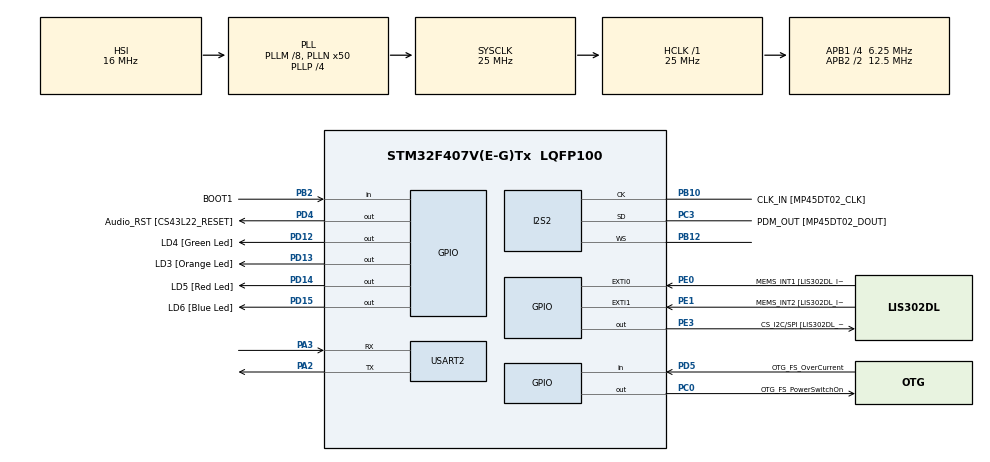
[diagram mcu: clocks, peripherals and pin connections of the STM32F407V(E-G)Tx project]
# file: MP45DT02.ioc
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I2S2.AudioFreq=I2S_AUDIOFREQ_192K
I2S2.ErrorAudioFreq=0.8 %
I2S2.Mode=I2S_MODE_MASTER_RX
I2S2.RealAudioFreq=193.548 KHz
Mcu.Family=STM32F4
Mcu.Name=STM32F407V(E-G)Tx
Mcu.Package=LQFP100
NVIC.PriorityGroup=NVIC_PRIORITYGROUP_0
PA10.GPIO_Label=OTG_FS_ID
PA10.GPIO_Mode=GPIO_MODE_AF_PP
PA10.GPIO_PuPd=GPIO_NOPULL
PA10.GPIO_Speed=GPIO_SPEED_FREQ_LOW
PA10.Signal=USB_OTG_FS_ID
PA11.GPIO_Label=OTG_FS_DM
PA11.GPIO_Mode=GPIO_MODE_AF_PP
PA11.GPIO_PuPd=GPIO_NOPULL
PA11.GPIO_Speed=GPIO_SPEED_FREQ_LOW
PA11.Signal=USB_OTG_FS_DM
PA12.GPIO_Label=OTG_FS_DP
PA12.GPIO_Mode=GPIO_MODE_AF_PP
PA12.GPIO_PuPd=GPIO_NOPULL
PA12.GPIO_Speed=GPIO_SPEED_FREQ_LOW
PA12.Signal=USB_OTG_FS_DP
PA13.GPIO_Label=SWDIO
PA13.Signal=SYS_JTMS-SWDIO
PA14.GPIO_Label=SWCLK
PA14.Signal=SYS_JTCK-SWCLK
PA2.Mode=Asynchronous
PA2.Signal=USART2_TX
PA3.Mode=Asynchronous
PA3.Signal=USART2_RX
PA4.GPIO_Label=I2S3_WS [CS43L22_LRCK]
PA4.GPIO_Mode=GPIO_MODE_AF_PP
PA4.GPIO_PuPd=GPIO_NOPULL
PA4.GPIO_Speed=GPIO_SPEED_FREQ_LOW
PA4.Signal=I2S3_WS
PA5.GPIO_Label=SPI1_SCK [LIS302DL_SCL/SPC]
PA5.GPIO_Mode=GPIO_MODE_AF_PP
PA5.GPIO_PuPd=GPIO_NOPULL
PA5.GPIO_Speed=GPIO_SPEED_FREQ_LOW
PA5.Signal=SPI1_SCK
PA6.GPIO_Label=SPI1_MISO [LIS302DL_SDO]
PA6.GPIO_Mode=GPIO_MODE_AF_PP
PA6.GPIO_PuPd=GPIO_NOPULL
PA6.GPIO_Speed=GPIO_SPEED_FREQ_LOW
PA6.Signal=SPI1_MISO
PA7.GPIO_Label=SPI1_MOSI [LIS302DL_SDA/SDI/SDO]
PA7.GPIO_Mode=GPIO_MODE_AF_PP
PA7.GPIO_PuPd=GPIO_NOPULL
PA7.GPIO_Speed=GPIO_SPEED_FREQ_LOW
PA7.Signal=SPI1_MOSI
PA9.GPIO_Label=VBUS_FS
PA9.GPIO_Mode=GPIO_MODE_INPUT
PA9.GPIO_PuPd=GPIO_NOPULL
PA9.Signal=USB_OTG_FS_VBUS
PB10.GPIO_Label=CLK_IN [MP45DT02_CLK]
PB10.GPIO_Mode=GPIO_MODE_AF_PP
PB10.GPIO_PuPd=GPIO_NOPULL
PB10.GPIO_Speed=GPIO_SPEED_FREQ_LOW
PB10.Mode=Half_Duplex_Master
PB10.Signal=I2S2_CK
PB12.Mode=Half_Duplex_Master
PB12.Signal=I2S2_WS
PB2.GPIO_Label=BOOT1
PB2.GPIO_Mode=GPIO_MODE_INPUT
PB2.GPIO_PuPd=GPIO_NOPULL
PB2.Signal=GPIO_Input
PB3.GPIO_Label=SWO
PB3.Signal=SYS_JTDO-SWO
PB6.GPIO_Label=Audio_SCL [CS43L22_SCL]
PB6.GPIO_Mode=GPIO_MODE_AF_OD
PB6.GPIO_PuPd=GPIO_NOPULL
PB6.GPIO_Speed=GPIO_SPEED_FREQ_LOW
PB6.Signal=I2C1_SCL
PB9.GPIO_Label=Audio_SDA [CS43L22_SDA]
PB9.GPIO_Mode=GPIO_MODE_AF_OD
PB9.GPIO_PuPd=GPIO_NOPULL
PB9.GPIO_Speed=GPIO_SPEED_FREQ_LOW
PB9.Signal=I2C1_SDA
PC0.GPIO_Label=OTG_FS_PowerSwitchOn
PC0.GPIO_PuPd=GPIO_NOPULL
PC0.GPIO_Speed=GPIO_SPEED_FREQ_LOW
PC0.PinState=GPIO_PIN_SET
PC0.Signal=GPIO_Output
PC10.GPIO_Label=I2S3_SCK [CS43L22_SCLK]
PC10.GPIO_Mode=GPIO_MODE_AF_PP
PC10.GPIO_PuPd=GPIO_NOPULL
PC10.GPIO_Speed=GPIO_SPEED_FREQ_LOW
PC10.Signal=I2S3_CK
PC12.GPIO_Label=I2S3_SD [CS43L22_SDIN]
PC12.GPIO_Mode=GPIO_MODE_AF_PP
PC12.GPIO_PuPd=GPIO_NOPULL
PC12.GPIO_Speed=GPIO_SPEED_FREQ_LOW
PC12.Signal=I2S3_SD
PC14-OSC32_IN.GPIO_Label=PC14-OSC32_IN
PC14-OSC32_IN.Signal=RCC_OSC32_IN
PC15-OSC32_OUT.GPIO_Label=PC15-OSC32_OUT
PC15-OSC32_OUT.Signal=RCC_OSC32_OUT
PC3.GPIO_Label=PDM_OUT [MP45DT02_DOUT]
PC3.GPIO_Mode=GPIO_MODE_AF_PP
PC3.GPIO_PuPd=GPIO_NOPULL
PC3.GPIO_Speed=GPIO_SPEED_FREQ_LOW
PC3.Mode=Half_Duplex_Master
PC3.Signal=I2S2_SD
PC7.GPIO_Label=I2S3_MCK [CS43L22_MCLK]
PC7.GPIO_Mode=GPIO_MODE_AF_PP
PC7.GPIO_PuPd=GPIO_NOPULL
PC7.GPIO_Speed=GPIO_SPEED_FREQ_LOW
PC7.Signal=I2S3_MCK
PD12.GPIO_Label=LD4 [Green Led]
PD12.GPIO_PuPd=GPIO_NOPULL
PD12.GPIO_Speed=GPIO_SPEED_FREQ_LOW
PD12.Signal=GPIO_Output
PD13.GPIO_Label=LD3 [Orange Led]
PD13.GPIO_PuPd=GPIO_NOPULL
PD13.GPIO_Speed=GPIO_SPEED_FREQ_LOW
PD13.Signal=GPIO_Output
PD14.GPIO_Label=LD5 [Red Led]
PD14.GPIO_PuPd=GPIO_NOPULL
PD14.GPIO_Speed=GPIO_SPEED_FREQ_LOW
PD14.Signal=GPIO_Output
PD15.GPIO_Label=LD6 [Blue Led]
PD15.GPIO_PuPd=GPIO_NOPULL
PD15.GPIO_Speed=GPIO_SPEED_FREQ_LOW
PD15.Signal=GPIO_Output
PD4.GPIO_Label=Audio_RST [CS43L22_RESET]
PD4.GPIO_PuPd=GPIO_NOPULL
PD4.GPIO_Speed=GPIO_SPEED_FREQ_LOW
PD4.Signal=GPIO_Output
PD5.GPIO_Label=OTG_FS_OverCurrent
PD5.GPIO_Mode=GPIO_MODE_INPUT
PD5.GPIO_PuPd=GPIO_NOPULL
PD5.Signal=GPIO_Input
PE0.GPIO_Label=MEMS_INT1 [LIS302DL_INT1]
PE0.Signal=GPXTI0
PE1.GPIO_Label=MEMS_INT2 [LIS302DL_INT2]
PE1.GPIO_ModeDefaultEXTI=GPIO_MODE_EVT_RISING
PE1.GPIO_PuPd=GPIO_NOPULL
PE1.Signal=GPXTI1
PE3.GPIO_Label=CS_I2C/SPI [LIS302DL_CS_I2C/SPI]
PE3.GPIO_PuPd=GPIO_NOPULL
PE3.GPIO_Speed=GPIO_SPEED_FREQ_LOW
PE3.Signal=GPIO_Output
PH0-OSC_IN.GPIO_Label=PH0-OSC_IN
PH0-OSC_IN.Signal=RCC_OSC_IN
PH1-OSC_OUT.GPIO_Label=PH1-OSC_OUT
PH1-OSC_OUT.Signal=RCC_OSC_OUT
ProjectManager.HeapSize=0x200
ProjectManager.StackSize=0x400
ProjectManager.TargetToolchain=SW4STM32
RCC.48MHZClocksFreq_Value=14285714.285714285
RCC.AHBFreq_Value=25000000
RCC.APB1CLKDivider=RCC_HCLK_DIV4
RCC.APB1Freq_Value=6250000
RCC.APB1TimFreq_Value=12500000
RCC.APB2CLKDivider=RCC_HCLK_DIV2
RCC.APB2Freq_Value=12500000
RCC.APB2TimFreq_Value=25000000
RCC.CortexFreq_Value=25000000
RCC.HCLKFreq_Value=25000000
RCC.HSE_VALUE=8000000
RCC.HSI_VALUE=16000000
RCC.LSE_VALUE=32768
RCC.PLLM=8
RCC.PLLN=50
RCC.PLLP=RCC_PLLP_DIV4
RCC.PLLQ=7
RCC.SYSCLKFreq_VALUE=25000000
RCC.SYSCLKSource=RCC_SYSCLKSOURCE_PLLCLK
RCC.VCOOutputFreq_Value=100000000
board=STM32F407G-DISC1

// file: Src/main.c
/**
 ******************************************************************************
 * File Name          : main.c
 * Description        : Main program body
 ******************************************************************************
 *
 * COPYRIGHT(c) 2559 STMicroelectronics
 *
 * Redistribution and use in source and binary forms, with or without modification,
 * are permitted provided that the following conditions are met:
 *   1. Redistributions of source code must retain the above copyright notice,
 *      this list of conditions and the following disclaimer.
 *   2. Redistributions in binary form must reproduce the above copyright notice,
 *      this list of conditions and the following disclaimer in the documentation
 *      and/or other materials provided with the distribution.
 *   3. Neither the name of STMicroelectronics nor the names of its contributors
 *      may be used to endorse or promote products derived from this software
 *      without specific prior written permission.
 *
 * THIS SOFTWARE IS PROVIDED BY THE COPYRIGHT HOLDERS AND CONTRIBUTORS "AS IS"
 * AND ANY EXPRESS OR IMPLIED WARRANTIES, INCLUDING, BUT NOT LIMITED TO, THE
 * IMPLIED WARRANTIES OF MERCHANTABILITY AND FITNESS FOR A PARTICULAR PURPOSE ARE
 * DISCLAIMED. IN NO EVENT SHALL THE COPYRIGHT HOLDER OR CONTRIBUTORS BE LIABLE
 * FOR ANY DIRECT, INDIRECT, INCIDENTAL, SPECIAL, EXEMPLARY, OR CONSEQUENTIAL
 * DAMAGES (INCLUDING, BUT NOT LIMITED TO, PROCUREMENT OF SUBSTITUTE GOODS OR
 * SERVICES; LOSS OF USE, DATA, OR PROFITS; OR BUSINESS INTERRUPTION) HOWEVER
 * CAUSED AND ON ANY THEORY OF LIABILITY, WHETHER IN CONTRACT, STRICT LIABILITY,
 * OR TORT (INCLUDING NEGLIGENCE OR OTHERWISE) ARISING IN ANY WAY OUT OF THE USE
 * OF THIS SOFTWARE, EVEN IF ADVISED OF THE POSSIBILITY OF SUCH DAMAGE.
 *
 ******************************************************************************
 */
#include "main.h"
#include "stm32f4xx_hal.h"

I2S_HandleTypeDef hi2s2;

UART_HandleTypeDef huart2;

/* USER CODE BEGIN PV */
/* Private variables ---------------------------------------------------------*/

/* USER CODE END PV */

#define PDM_BUFFER_SIZE 20
#define PCM_BUFFER_SIZE 2500
#define LEAKY_KEEP_RATE 0.95
#define UART_DEBUG_TICK_RATE 100
#define PDM_BLOCK_SIZE_BITS 16

void SystemClock_Config(void);
void Error_Handler(void);
static void MX_GPIO_Init(void);
static void MX_I2S2_Init(void);
static void MX_USART2_UART_Init(void);

/* USER CODE BEGIN PFP */
/* Private function prototypes -----------------------------------------------*/

/* USER CODE END PFP */

/* USER CODE BEGIN 0 */

float absFloat(float floa) {
	return floa < 0 ? -floa : floa;
}

/* USER CODE END 0 */

int main(void) {

	/* USER CODE BEGIN 1 */
	uint16_t PDM_buffer[PDM_BUFFER_SIZE];
	uint16_t PDM_value = 0; // from microphone (MP45DT02) by I2S receive...
	uint16_t pcmCount = 0;

	uint8_t i;
	uint8_t PCM_value = 0;

	float leaky_PCM_buffer = 0.0;
	float leaky_AMP_buffer = 0.0;

	char uart_temp_display_buffer[100];

	double pcm_square = 0;
	float maxAmp = 0;

	/* USER CODE END 1 */

	HAL_Init();

	/* Configure the system clock */
	SystemClock_Config();

	/* Initialize all configured peripherals */
	MX_GPIO_Init();
	MX_I2S2_Init();
	MX_USART2_UART_Init();

	/* Infinite loop */
	while (1) {

		/* USER CODE BEGIN 3 */
		HAL_I2S_Receive(&hi2s2, PDM_buffer, PDM_BUFFER_SIZE, 1000);

		//calculate...
		for (i = 0; i < PDM_BUFFER_SIZE; i++) {
			PCM_value = -PDM_BLOCK_SIZE_BITS / 2;
			PDM_value = PDM_buffer[i];
			while (PDM_value != 0)
			{
				PCM_value++;
				PDM_value ^= PDM_value & -PDM_value;
			}

			leaky_PCM_buffer += PCM_value;
			leaky_PCM_buffer *= LEAKY_KEEP_RATE;
			leaky_AMP_buffer += absFloat(leaky_PCM_buffer);
			leaky_AMP_buffer *= LEAKY_KEEP_RATE;
		}

		pcmCount++;

		if (maxAmp < leaky_AMP_buffer) // save new maxAmp...
			maxAmp = leaky_AMP_buffer;

		pcm_square += (leaky_AMP_buffer / 2500) * leaky_AMP_buffer;

		if (pcmCount == 2500) { //wait...
			sprintf(uart_temp_display_buffer, "L : %d\n\r", (int) maxAmp); //save new format for OUTPUT...
			// output...
			HAL_UART_Transmit(&huart2, (uint8_t*) uart_temp_display_buffer,
					strlen(uart_temp_display_buffer), 100);
			pcmCount = 0;
			pcm_square = 0;
			maxAmp = 0;
		}
	}
	/* USER CODE END 3 */

}

/** System Clock Configuration
 */
void SystemClock_Config(void) {

	RCC_OscInitTypeDef RCC_OscInitStruct;
	RCC_ClkInitTypeDef RCC_ClkInitStruct;
	RCC_PeriphCLKInitTypeDef PeriphClkInitStruct;

	/**Configure the main internal regulator output voltage
	 */
	__HAL_RCC_PWR_CLK_ENABLE()
	;

	__HAL_PWR_VOLTAGESCALING_CONFIG(PWR_REGULATOR_VOLTAGE_SCALE1);

	/**Initializes the CPU, AHB and APB busses clocks
	 */
	RCC_OscInitStruct.OscillatorType = RCC_OSCILLATORTYPE_HSI;
	RCC_OscInitStruct.HSIState = RCC_HSI_ON;
	RCC_OscInitStruct.HSICalibrationValue = 16;
	RCC_OscInitStruct.PLL.PLLState = RCC_PLL_ON;
	RCC_OscInitStruct.PLL.PLLSource = RCC_PLLSOURCE_HSI;
	RCC_OscInitStruct.PLL.PLLM = 8;
	RCC_OscInitStruct.PLL.PLLN = 50;
	RCC_OscInitStruct.PLL.PLLP = RCC_PLLP_DIV4;
	RCC_OscInitStruct.PLL.PLLQ = 7;
	if (HAL_RCC_OscConfig(&RCC_OscInitStruct) != HAL_OK) {
		Error_Handler();
	}

	/**Initializes the CPU, AHB and APB busses clocks
	 */
	RCC_ClkInitStruct.ClockType = RCC_CLOCKTYPE_HCLK | RCC_CLOCKTYPE_SYSCLK
			| RCC_CLOCKTYPE_PCLK1 | RCC_CLOCKTYPE_PCLK2;
	RCC_ClkInitStruct.SYSCLKSource = RCC_SYSCLKSOURCE_PLLCLK;
	RCC_ClkInitStruct.AHBCLKDivider = RCC_SYSCLK_DIV1;
	RCC_ClkInitStruct.APB1CLKDivider = RCC_HCLK_DIV4;
	RCC_ClkInitStruct.APB2CLKDivider = RCC_HCLK_DIV2;

	if (HAL_RCC_ClockConfig(&RCC_ClkInitStruct, FLASH_LATENCY_0) != HAL_OK) {
		Error_Handler();
	}

	PeriphClkInitStruct.PeriphClockSelection = RCC_PERIPHCLK_I2S;
	PeriphClkInitStruct.PLLI2S.PLLI2SN = 192;
	PeriphClkInitStruct.PLLI2S.PLLI2SR = 2;
	if (HAL_RCCEx_PeriphCLKConfig(&PeriphClkInitStruct) != HAL_OK) {
		Error_Handler();
	}

	/**Configure the Systick interrupt time
	 */
	HAL_SYSTICK_Config(HAL_RCC_GetHCLKFreq() / 1000);

	/**Configure the Systick
	 */
	HAL_SYSTICK_CLKSourceConfig(SYSTICK_CLKSOURCE_HCLK);

	/* SysTick_IRQn interrupt configuration */
	HAL_NVIC_SetPriority(SysTick_IRQn, 0, 0);
}

/* I2S2 init function */
static void MX_I2S2_Init(void) {

	hi2s2.Instance = SPI2;
	hi2s2.Init.Mode = I2S_MODE_MASTER_RX;
	hi2s2.Init.Standard = I2S_STANDARD_PHILIPS;
	hi2s2.Init.DataFormat = I2S_DATAFORMAT_16B;
	hi2s2.Init.MCLKOutput = I2S_MCLKOUTPUT_DISABLE;
	hi2s2.Init.AudioFreq = I2S_AUDIOFREQ_192K;
	hi2s2.Init.CPOL = I2S_CPOL_LOW;
	hi2s2.Init.ClockSource = I2S_CLOCK_PLL;
	hi2s2.Init.FullDuplexMode = I2S_FULLDUPLEXMODE_DISABLE;
	if (HAL_I2S_Init(&hi2s2) != HAL_OK) {
		Error_Handler();
	}

}

/* USART2 init function */
static void MX_USART2_UART_Init(void) {

	huart2.Instance = USART2;
	huart2.Init.BaudRate = 115200;
	huart2.Init.WordLength = UART_WORDLENGTH_8B;
	huart2.Init.StopBits = UART_STOPBITS_1;
	huart2.Init.Parity = UART_PARITY_NONE;
	huart2.Init.Mode = UART_MODE_TX_RX;
	huart2.Init.HwFlowCtl = UART_HWCONTROL_NONE;
	huart2.Init.OverSampling = UART_OVERSAMPLING_16;
	if (HAL_UART_Init(&huart2) != HAL_OK) {
		Error_Handler();
	}

}

/** Configure pins as
 * Analog
 * Input
 * Output
 * EVENT_OUT
 * EXTI
 PA4   ------> I2S3_WS
 PA5   ------> SPI1_SCK
 PA6   ------> SPI1_MISO
 PA7   ------> SPI1_MOSI
 PC7   ------> I2S3_MCK
 PA9   ------> USB_OTG_FS_VBUS
 PA10   ------> USB_OTG_FS_ID
 PA11   ------> USB_OTG_FS_DM
 PA12   ------> USB_OTG_FS_DP
 PC10   ------> I2S3_CK
 PC12   ------> I2S3_SD
 PB6   ------> I2C1_SCL
 PB9   ------> I2C1_SDA
 */
static void MX_GPIO_Init(void) {

	GPIO_InitTypeDef GPIO_InitStruct;

	/* GPIO Ports Clock Enable */
	__HAL_RCC_GPIOE_CLK_ENABLE()
	;
	__HAL_RCC_GPIOC_CLK_ENABLE()
	;
	__HAL_RCC_GPIOH_CLK_ENABLE()
	;
	__HAL_RCC_GPIOA_CLK_ENABLE()
	;
	__HAL_RCC_GPIOB_CLK_ENABLE()
	;
	__HAL_RCC_GPIOD_CLK_ENABLE()
	;

	/*Configure GPIO pin Output Level */
	HAL_GPIO_WritePin(CS_I2C_SPI_GPIO_Port, CS_I2C_SPI_Pin, GPIO_PIN_RESET);

	/*Configure GPIO pin Output Level */
	HAL_GPIO_WritePin(OTG_FS_PowerSwitchOn_GPIO_Port, OTG_FS_PowerSwitchOn_Pin,
			GPIO_PIN_SET);

	/*Configure GPIO pin Output Level */
	HAL_GPIO_WritePin(GPIOD,
			LD4_Pin | LD3_Pin | LD5_Pin | LD6_Pin | Audio_RST_Pin,
			GPIO_PIN_RESET);

	/*Configure GPIO pin : CS_I2C_SPI_Pin */
	GPIO_InitStruct.Pin = CS_I2C_SPI_Pin;
	GPIO_InitStruct.Mode = GPIO_MODE_OUTPUT_PP;
	GPIO_InitStruct.Pull = GPIO_NOPULL;
	GPIO_InitStruct.Speed = GPIO_SPEED_FREQ_LOW;
	HAL_GPIO_Init(CS_I2C_SPI_GPIO_Port, &GPIO_InitStruct);

	/*Configure GPIO pin : OTG_FS_PowerSwitchOn_Pin */
	GPIO_InitStruct.Pin = OTG_FS_PowerSwitchOn_Pin;
	GPIO_InitStruct.Mode = GPIO_MODE_OUTPUT_PP;
	GPIO_InitStruct.Pull = GPIO_NOPULL;
	GPIO_InitStruct.Speed = GPIO_SPEED_FREQ_LOW;
	HAL_GPIO_Init(OTG_FS_PowerSwitchOn_GPIO_Port, &GPIO_InitStruct);

	/*Configure GPIO pin : PA4 */
	GPIO_InitStruct.Pin = GPIO_PIN_4;
	GPIO_InitStruct.Mode = GPIO_MODE_AF_PP;
	GPIO_InitStruct.Pull = GPIO_NOPULL;
	GPIO_InitStruct.Speed = GPIO_SPEED_FREQ_LOW;
	GPIO_InitStruct.Alternate = GPIO_AF6_SPI3;
	HAL_GPIO_Init(GPIOA, &GPIO_InitStruct);

	/*Configure GPIO pins : PA5 PA6 PA7 */
	GPIO_InitStruct.Pin = GPIO_PIN_5 | GPIO_PIN_6 | GPIO_PIN_7;
	GPIO_InitStruct.Mode = GPIO_MODE_AF_PP;
	GPIO_InitStruct.Pull = GPIO_NOPULL;
	GPIO_InitStruct.Speed = GPIO_SPEED_FREQ_LOW;
	GPIO_InitStruct.Alternate = GPIO_AF5_SPI1;
	HAL_GPIO_Init(GPIOA, &GPIO_InitStruct);

	/*Configure GPIO pin : BOOT1_Pin */
	GPIO_InitStruct.Pin = BOOT1_Pin;
	GPIO_InitStruct.Mode = GPIO_MODE_INPUT;
	GPIO_InitStruct.Pull = GPIO_NOPULL;
	HAL_GPIO_Init(BOOT1_GPIO_Port, &GPIO_InitStruct);

	/*Configure GPIO pins : LD4_Pin LD3_Pin LD5_Pin LD6_Pin
	 Audio_RST_Pin */
	GPIO_InitStruct.Pin = LD4_Pin | LD3_Pin | LD5_Pin | LD6_Pin | Audio_RST_Pin;
	GPIO_InitStruct.Mode = GPIO_MODE_OUTPUT_PP;
	GPIO_InitStruct.Pull = GPIO_NOPULL;
	GPIO_InitStruct.Speed = GPIO_SPEED_FREQ_LOW;
	HAL_GPIO_Init(GPIOD, &GPIO_InitStruct);

	/*Configure GPIO pins : PC7 I2S3_SCK_Pin PC12 */
	GPIO_InitStruct.Pin = GPIO_PIN_7 | I2S3_SCK_Pin | GPIO_PIN_12;
	GPIO_InitStruct.Mode = GPIO_MODE_AF_PP;
	GPIO_InitStruct.Pull = GPIO_NOPULL;
	GPIO_InitStruct.Speed = GPIO_SPEED_FREQ_LOW;
	GPIO_InitStruct.Alternate = GPIO_AF6_SPI3;
	HAL_GPIO_Init(GPIOC, &GPIO_InitStruct);

	/*Configure GPIO pin : VBUS_FS_Pin */
	GPIO_InitStruct.Pin = VBUS_FS_Pin;
	GPIO_InitStruct.Mode = GPIO_MODE_INPUT;
	GPIO_InitStruct.Pull = GPIO_NOPULL;
	HAL_GPIO_Init(VBUS_FS_GPIO_Port, &GPIO_InitStruct);

	/*Configure GPIO pins : OTG_FS_ID_Pin OTG_FS_DM_Pin OTG_FS_DP_Pin */
	GPIO_InitStruct.Pin = OTG_FS_ID_Pin | OTG_FS_DM_Pin | OTG_FS_DP_Pin;
	GPIO_InitStruct.Mode = GPIO_MODE_AF_PP;
	GPIO_InitStruct.Pull = GPIO_NOPULL;
	GPIO_InitStruct.Speed = GPIO_SPEED_FREQ_LOW;
	GPIO_InitStruct.Alternate = GPIO_AF10_OTG_FS;
	HAL_GPIO_Init(GPIOA, &GPIO_InitStruct);

	/*Configure GPIO pin : OTG_FS_OverCurrent_Pin */
	GPIO_InitStruct.Pin = OTG_FS_OverCurrent_Pin;
	GPIO_InitStruct.Mode = GPIO_MODE_INPUT;
	GPIO_InitStruct.Pull = GPIO_NOPULL;
	HAL_GPIO_Init(OTG_FS_OverCurrent_GPIO_Port, &GPIO_InitStruct);

	/*Configure GPIO pins : Audio_SCL_Pin Audio_SDA_Pin */
	GPIO_InitStruct.Pin = Audio_SCL_Pin | Audio_SDA_Pin;
	GPIO_InitStruct.Mode = GPIO_MODE_AF_OD;
	GPIO_InitStruct.Pull = GPIO_PULLUP;
	GPIO_InitStruct.Speed = GPIO_SPEED_FREQ_LOW;
	GPIO_InitStruct.Alternate = GPIO_AF4_I2C1;
	HAL_GPIO_Init(GPIOB, &GPIO_InitStruct);

	/*Configure GPIO pin : MEMS_INT1_Pin */
	GPIO_InitStruct.Pin = MEMS_INT1_Pin;
	GPIO_InitStruct.Mode = GPIO_MODE_IT_RISING;
	GPIO_InitStruct.Pull = GPIO_NOPULL;
	HAL_GPIO_Init(MEMS_INT1_GPIO_Port, &GPIO_InitStruct);

	/*Configure GPIO pin : MEMS_INT2_Pin */
	GPIO_InitStruct.Pin = MEMS_INT2_Pin;
	GPIO_InitStruct.Mode = GPIO_MODE_EVT_RISING;
	GPIO_InitStruct.Pull = GPIO_NOPULL;
	HAL_GPIO_Init(MEMS_INT2_GPIO_Port, &GPIO_InitStruct);

}

void Error_Handler(void) {
	while (1) {
	}
}

/************************ (C) COPYRIGHT STMicroelectronics *****END OF FILE****/
